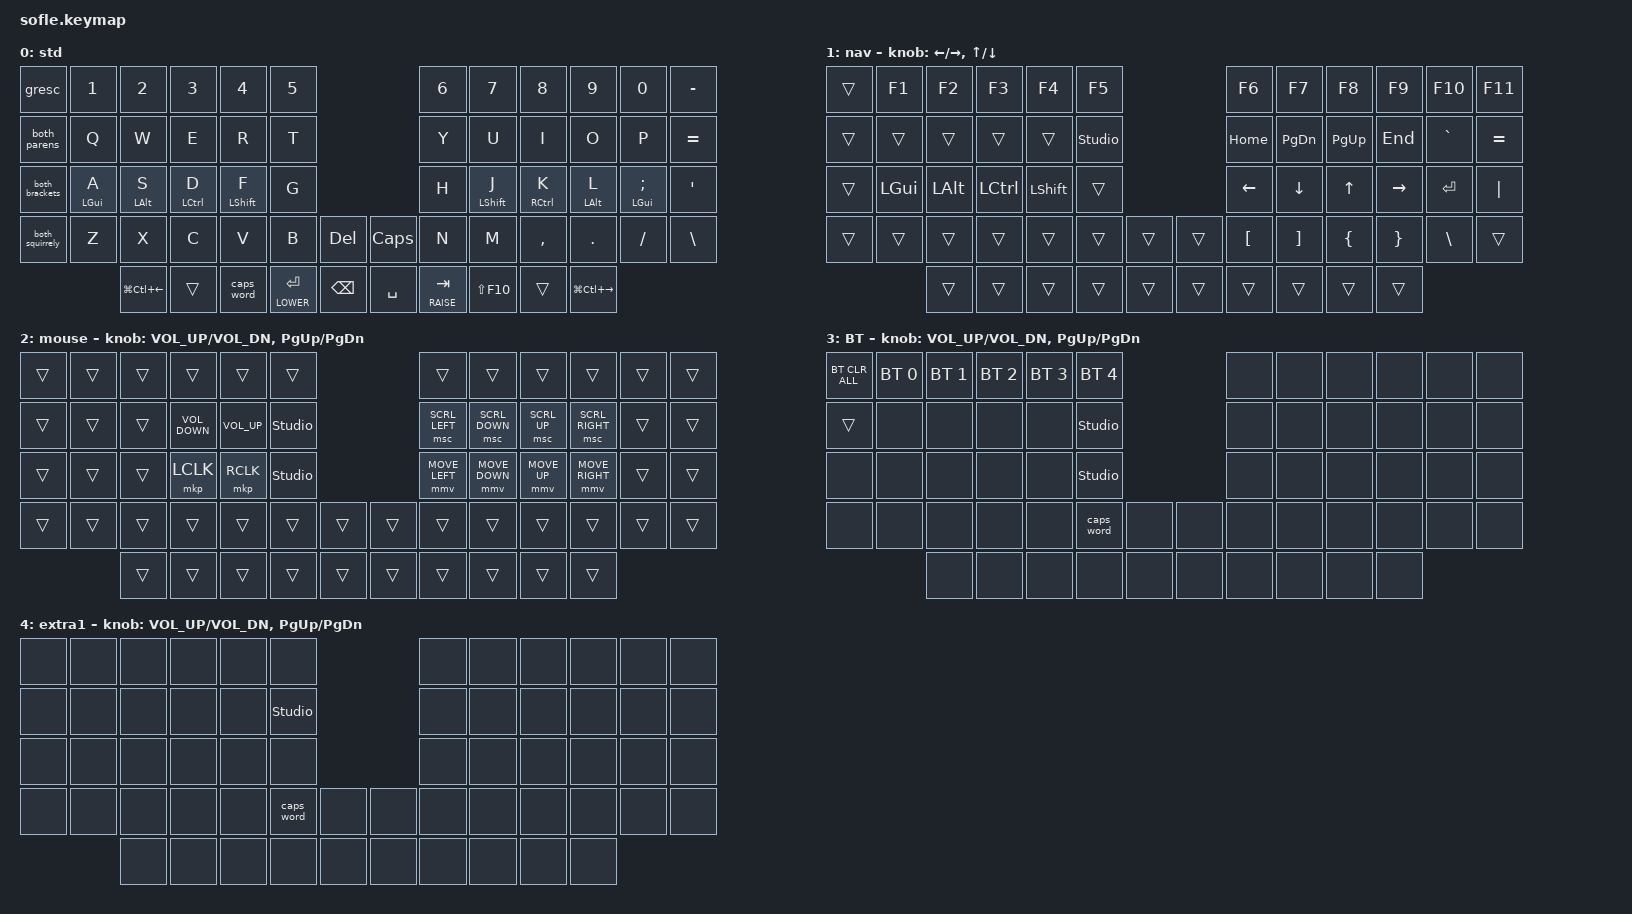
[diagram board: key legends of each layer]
/*
 * Copyright (c) 2020 The ZMK Contributors
 *
 * SPDX-License-Identifier: MIT
 */

#include <behaviors.dtsi>
#include <dt-bindings/zmk/bt.h>
#include <dt-bindings/zmk/keys.h>
#include <dt-bindings/zmk/pointing.h>

#define BASE 0
#define LOWER 1
#define RAISE 2
#define ADJUST 3
#define extra_layer 4

/ {
    // Activate ADJUST layer by pressing raise and lower

    conditional_layers {
        compatible = "zmk,conditional-layers";

        adjust_layer {
            if-layers = <LOWER RAISE>;
            then-layer = <ADJUST>;
        };
    };

    combos {
        compatible = "zmk,combos";

        esc {
            bindings = <&kp ESCAPE>;
            key-positions = <32 31>;
        };

        launcher {
            bindings = <&kp RC(SPACE)>;
            key-positions = <33 32>;
        };
    };

    behaviors {
        caps: caps {
            compatible = "zmk,behavior-caps-word";
            label = "CAPS";
            #binding-cells = <0>;
            continue-list = <POUND MINUS BACKSPACE UNDERSCORE>;
        };

        hrm: home_row_mod {
            compatible = "zmk,behavior-hold-tap";
            #binding-cells = <2>;
            flavor = "balanced";
            require-prior-idle-ms = <75>;
            tapping-term-ms = <200>;
            quick-tap-ms = <175>;
            bindings = <&kp>, <&kp>;
        };
    };

    macros {
        both_parens: both_parens {
            compatible = "zmk,behavior-macro";
            #binding-cells = <0>;
            bindings = <&kp LPAR &kp RPAR &kp LEFT>;
            label = "BOTH_PARENS";
        };

        both_brackets: both_brackets {
            compatible = "zmk,behavior-macro";
            #binding-cells = <0>;
            bindings = <&kp LBKT &kp RIGHT_BRACKET &kp LEFT>;
            label = "BOTH_BRACKETS";
        };

        both_squirrely: both_squirrely {
            compatible = "zmk,behavior-macro";
            #binding-cells = <0>;
            bindings = <&kp LS(LBKT) &kp LS(RIGHT_BRACKET) &kp LEFT>;
            label = "BOTH_SQUIRRELY";
        };

        powertoys_windowwalker: powertoys_windowwalker {
            compatible = "zmk,behavior-macro";
            #binding-cells = <0>;
            bindings = <&kp LG(SPACE) &kp SEMICOLON>;
            label = "POWERTOYS_WINDOWWALKER";
        };
    };

    keymap {
        compatible = "zmk,keymap";

        standard {
            display-name = "std";

            // ------------------------------------------------------------------------------------------------------------
            // |   `   |  1  |  2  |  3   |  4   |  5   |                   |  6   |  7    |  8    |  9   |   0   |       |
            // |  ESC  |  Q  |  W  |  E   |  R   |  T   |                   |  Y   |  U    |  I    |  O   |   P   | BKSPC |
            // |  TAB  |  A  |  S  |  D   |  F   |  G   |                   |  H   |  J    |  K    |  L   |   ;   |   '   |
            // | SHIFT |  Z  |  X  |  C   |  V   |  B   |  MUTE  |  |       |  N   |  M    |  ,    |  .   |   /   | SHIFT |
            //               | GUI | ALT  | CTRL | LOWER|  ENTER |  | SPACE | RAISE| CTRL  | ALT   | GUI  |

            bindings = <
&gresc           &kp N1           &kp N2            &kp N3               &kp N4             &kp N5                                       &kp N6         &kp N7             &kp N8                &kp N9             &kp N0              &kp MINUS
&both_parens     &kp Q            &kp W             &kp E                &kp R              &kp T                                        &kp Y          &kp U              &kp I                 &kp O              &kp P               &kp EQUAL
&both_brackets   &hrm LEFT_GUI A  &hrm LEFT_ALT S   &hrm LEFT_CONTROL D  &hrm LEFT_SHIFT F  &kp G                                        &kp H          &hrm LEFT_SHIFT J  &hrm RIGHT_CONTROL K  &hrm LEFT_ALT L    &hrm LEFT_GUI SEMI  &kp SQT
&both_squirrely  &kp Z            &kp X             &kp C                &kp V              &kp B            &kp DELETE       &kp CAPS   &kp N          &kp M              &kp COMMA             &kp DOT            &kp FSLH            &kp BACKSLASH
                                  &kp LG(LC(LEFT))  &trans               &caps_word         &lt LOWER ENTER  &kp BACKSPACE    &kp SPACE  &lt RAISE TAB  &kp LS(F10)        &trans                &kp LG(LC(RIGHT))
            >;
        };

        navigation {
            display-name = "nav";

            // TODO: Some binds are waiting for shifted keycode support.
            // ------------------------------------------------------------------------------------------------------------
            // |       |  F1 |  F2 |  F3  |  F4  |  F5  |                   |  F6  |  F7   |  F8   |  F9  |  F10  |  F11  |
            // |   `   |  1  |  2  |  3   |  4   |  5   |                   |  6   |  7    |  8    |  9   |   0   |  F12  |
            // |       |  !  |  @  |  #   |  $   |  %   |                   |  ^   |  &    |  *    |  (   |   )   |   |   |
            // |       |  =  |  -  |  +   |  {   |  }   |        |  |       |  [   |  ]    |  ;    |  :   |   \   |       |
            //               |     |      |      |      |        |  |       |      |       |       |      |

            bindings = <
&trans  &kp F1        &kp F2        &kp F3            &kp F4          &kp F5                            &kp F6            &kp F7             &kp F8          &kp F9           &kp F10        &kp F11
&trans  &trans        &trans        &trans            &trans          &studio_unlock                    &kp HOME          &kp PAGE_DOWN      &kp PAGE_UP     &kp END          &kp GRAVE      &kp EQUAL
&trans  &kp LEFT_GUI  &kp LEFT_ALT  &kp LEFT_CONTROL  &kp LEFT_SHIFT  &trans                            &kp LEFT          &kp DOWN           &kp UP          &kp RIGHT        &kp ENTER      &kp PIPE
&trans  &trans        &trans        &trans            &trans          &trans          &trans    &trans  &kp LEFT_BRACKET  &kp RIGHT_BRACKET  &kp LEFT_BRACE  &kp RIGHT_BRACE  &kp BACKSLASH  &trans
                      &trans        &trans            &trans          &trans          &trans    &trans  &trans            &trans             &trans          &trans
            >;

            sensor-bindings =
                <&inc_dec_kp LEFT_ARROW RIGHT_ARROW>,
                <&inc_dec_kp UP_ARROW DOWN_ARROW>;
        };

        mouse {
            display-name = "mouse";

            // ------------------------------------------------------------------------------------------------------------
            // | BTCLR | BT1  | BT2  |  BT3  |  BT4  |  BT5 |                |      |      |       |      |       |       |
            // |       | INS  | PSCR | GUI   |       |      |                | PGUP |      |   ^   |      |       |       |
            // |       | ALT  | CTRL | SHIFT |       | CAPS |                | PGDN |   <- |   v   |  ->  |  DEL  | BKSPC |
            // |       | UNDO | CUT  | COPY  | PASTE |      |      |  |      |      |      |       |      |       |       |
            //                |      |       |       |      |      |  |      |      |      |       |      |

            bindings = <
&trans  &trans  &trans  &trans             &trans           &trans                            &trans          &trans          &trans        &trans           &trans  &trans
&trans  &trans  &trans  &kp C_VOLUME_DOWN  &kp C_VOLUME_UP  &studio_unlock                    &msc SCRL_LEFT  &msc SCRL_DOWN  &msc SCRL_UP  &msc SCRL_RIGHT  &trans  &trans
&trans  &trans  &trans  &mkp LCLK          &mkp RCLK        &studio_unlock                    &mmv MOVE_LEFT  &mmv MOVE_DOWN  &mmv MOVE_UP  &mmv MOVE_RIGHT  &trans  &trans
&trans  &trans  &trans  &trans             &trans           &trans          &trans    &trans  &trans          &trans          &trans        &trans           &trans  &trans
                &trans  &trans             &trans           &trans          &trans    &trans  &trans          &trans          &trans        &trans
            >;

            sensor-bindings = <&inc_dec_kp C_VOL_UP C_VOL_DN &inc_dec_kp PG_UP PG_DN>;
        };

        bluetooth {
            // ----------------------------------------------------------------------------------------------------------------------------
            // | BTCLR  |  BT1    |  BT2    |   BT3   |   BT4   |   BT5   |                  |      |      |       |      |       |       |
            // | EXTPWR | RGB_HUD | RGB_HUI | RGB_SAD | RGB_SAI | RGB_EFF |                  |      |      |       |      |       |       |
            // |        | RGB_BRD | RGB_BRI |         |         |         |                  |      |      |       |      |       |       |
            // |        |         |         |         |         |         | RGB_TOG | |      |      |      |       |      |       |       |
            //                    |         |         |         |         |         | |      |      |      |       |      |

            display-name = "BT";
            bindings = <
&bt BT_CLR_ALL  &bt BT_SEL 0  &bt BT_SEL 1  &bt BT_SEL 2  &bt BT_SEL 3  &bt BT_SEL 4                    &none  &none  &none  &none  &none  &none
&trans          &none         &none         &none         &none         &studio_unlock                  &none  &none  &none  &none  &none  &none
&none           &none         &none         &none         &none         &studio_unlock                  &none  &none  &none  &none  &none  &none
&none           &none         &none         &none         &none         &caps_word      &none    &none  &none  &none  &none  &none  &none  &none
                              &none         &none         &none         &none           &none    &none  &none  &none  &none  &none
            >;

            sensor-bindings = <&inc_dec_kp C_VOL_UP C_VOL_DN &inc_dec_kp PG_UP PG_DN>;
        };

        extra_layer {
            // ----------------------------------------------------------------------------------------------------------------------------
            // | BTCLR  |  BT1    |  BT2    |   BT3   |   BT4   |   BT5   |                  |      |      |       |      |       |       |
            // | EXTPWR | RGB_HUD | RGB_HUI | RGB_SAD | RGB_SAI | RGB_EFF |                  |      |      |       |      |       |       |
            // |        | RGB_BRD | RGB_BRI |         |         |         |                  |      |      |       |      |       |       |
            // |        |         |         |         |         |         | RGB_TOG | |      |      |      |       |      |       |       |
            //                    |         |         |         |         |         | |      |      |      |       |      |

            display-name = "extra1";
            bindings = <
&none  &none  &none  &none  &none  &none                           &none  &none  &none  &none  &none  &none
&none  &none  &none  &none  &none  &studio_unlock                  &none  &none  &none  &none  &none  &none
&none  &none  &none  &none  &none  &none                           &none  &none  &none  &none  &none  &none
&none  &none  &none  &none  &none  &caps_word      &none    &none  &none  &none  &none  &none  &none  &none
              &none  &none  &none  &none           &none    &none  &none  &none  &none  &none
            >;

            sensor-bindings = <&inc_dec_kp C_VOL_UP C_VOL_DN &inc_dec_kp PG_UP PG_DN>;
        };
    };
};
